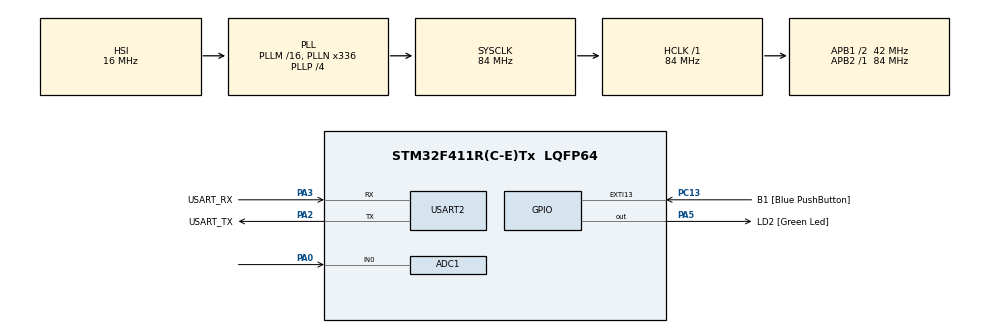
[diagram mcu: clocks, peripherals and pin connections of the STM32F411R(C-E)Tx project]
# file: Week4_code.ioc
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ADC1.Channel-1\#ChannelRegularConversion=ADC_CHANNEL_0
ADC1.Channel-2\#ChannelRegularConversion=ADC_CHANNEL_TEMPSENSOR
ADC1.ContinuousConvMode=ENABLE
ADC1.DMAContinuousRequests=ENABLE
ADC1.EOCSelection=ADC_EOC_SEQ_CONV
ADC1.NbrOfConversion=2
ADC1.NbrOfConversionFlag=1
ADC1.Rank-1\#ChannelRegularConversion=1
ADC1.Rank-2\#ChannelRegularConversion=2
ADC1.SamplingTime-1\#ChannelRegularConversion=ADC_SAMPLETIME_56CYCLES
ADC1.SamplingTime-2\#ChannelRegularConversion=ADC_SAMPLETIME_56CYCLES
ADC1.master=1
Dma.ADC1.0.Direction=DMA_PERIPH_TO_MEMORY
Dma.ADC1.0.FIFOMode=DMA_FIFOMODE_DISABLE
Dma.ADC1.0.Instance=DMA2_Stream0
Dma.ADC1.0.MemDataAlignment=DMA_MDATAALIGN_HALFWORD
Dma.ADC1.0.MemInc=DMA_MINC_ENABLE
Dma.ADC1.0.Mode=DMA_CIRCULAR
Dma.ADC1.0.PeriphDataAlignment=DMA_PDATAALIGN_HALFWORD
Dma.ADC1.0.PeriphInc=DMA_PINC_DISABLE
Dma.ADC1.0.Priority=DMA_PRIORITY_LOW
Dma.Request0=ADC1
Mcu.Family=STM32F4
Mcu.Name=STM32F411R(C-E)Tx
Mcu.Package=LQFP64
NVIC.DMA2_Stream0_IRQn=true\:0\:0\:false\:false\:true\:false\:true\:true
NVIC.EXTI15_10_IRQn=true\:0\:0\:false\:false\:true\:true\:true\:true
NVIC.PriorityGroup=NVIC_PRIORITYGROUP_0
PA0-WKUP.Signal=ADCx_IN0
PA13.GPIO_Label=TMS
PA13.Mode=Serial_Wire
PA13.Signal=SYS_JTMS-SWDIO
PA14.GPIO_Label=TCK
PA14.Mode=Serial_Wire
PA14.Signal=SYS_JTCK-SWCLK
PA2.GPIO_Label=USART_TX
PA2.Mode=Asynchronous
PA2.Signal=USART2_TX
PA3.GPIO_Label=USART_RX
PA3.Mode=Asynchronous
PA3.Signal=USART2_RX
PA5.GPIO_Label=LD2 [Green Led]
PA5.Signal=GPIO_Output
PB3.GPIO_Label=SWO
PB3.Signal=SYS_JTDO-SWO
PC13-ANTI_TAMP.GPIO_Label=B1 [Blue PushButton]
PC13-ANTI_TAMP.GPIO_ModeDefaultEXTI=GPIO_MODE_IT_FALLING
PC13-ANTI_TAMP.Signal=GPXTI13
PC14-OSC32_IN.Mode=LSE-External-Oscillator
PC14-OSC32_IN.Signal=RCC_OSC32_IN
PC15-OSC32_OUT.Mode=LSE-External-Oscillator
PC15-OSC32_OUT.Signal=RCC_OSC32_OUT
PH0\ -\ OSC_IN.Mode=HSE-External-Clock-Source
PH0\ -\ OSC_IN.Signal=RCC_OSC_IN
PH1\ -\ OSC_OUT.Mode=HSE-External-Clock-Source
PH1\ -\ OSC_OUT.Signal=RCC_OSC_OUT
ProjectManager.HeapSize=0x200
ProjectManager.StackSize=0x400
ProjectManager.TargetToolchain=STM32CubeIDE
RCC.48MHZClocksFreq_Value=84000000
RCC.AHBFreq_Value=84000000
RCC.APB1CLKDivider=RCC_HCLK_DIV2
RCC.APB1Freq_Value=42000000
RCC.APB1TimFreq_Value=84000000
RCC.APB2Freq_Value=84000000
RCC.APB2TimFreq_Value=84000000
RCC.CortexFreq_Value=84000000
RCC.FLatency-AdvancedSettings=FLASH_LATENCY_2
RCC.HCLKFreq_Value=84000000
RCC.HSE_VALUE=8000000
RCC.HSI_VALUE=16000000
RCC.PLLN=336
RCC.PLLP=RCC_PLLP_DIV4
RCC.SYSCLKFreq_VALUE=84000000
RCC.SYSCLKSource=RCC_SYSCLKSOURCE_PLLCLK
RCC.VCOOutputFreq_Value=336000000
SH.ADCx_IN0.0=ADC1_IN0,IN0
USART2.VirtualMode=VM_ASYNC
VP_ADC1_TempSens_Input.Mode=IN-TempSens
board=NUCLEO-F411RE

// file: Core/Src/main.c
/* USER CODE BEGIN Header */
/**
  ******************************************************************************
  * @file           : main.c
  * @brief          : Main program body
  ******************************************************************************
  * @attention
  *
  * Copyright (c) 2023 STMicroelectronics.
  * All rights reserved.
  *
  * This software is licensed under terms that can be found in the LICENSE file
  * in the root directory of this software component.
  * If no LICENSE file comes with this software, it is provided AS-IS.
  *
  ******************************************************************************
  */
/* USER CODE END Header */
#include "main.h"

ADC_HandleTypeDef hadc1;
DMA_HandleTypeDef hdma_adc1;

UART_HandleTypeDef huart2;

/* USER CODE BEGIN PV */
typedef struct {
	uint16_t in0;
	uint16_t temp;
} adcDMAStruct;

adcDMAStruct adcDMA[10];
float voltage_bit = 0;
float voltage_lsb = 3.3/4096;
float voltage_read = 0;
int voltage_in = 0;
int voltage_25 = 760;
float AVG_Slope = 2.5; //
float voltage_sense = 0;
float voltage_tempBit = 0;
float temp_C = 0;
float temp_K = 0;
/* USER CODE END PV */

void SystemClock_Config(void);
static void MX_GPIO_Init(void);
static void MX_DMA_Init(void);
static void MX_USART2_UART_Init(void);
static void MX_ADC1_Init(void);

int main(void)
{

  /* MCU Configuration--------------------------------------------------------*/

  /* Reset of all peripherals, Initializes the Flash interface and the Systick. */
  HAL_Init();

  /* Configure the system clock */
  SystemClock_Config();

  /* Initialize all configured peripherals */
  MX_GPIO_Init();
  MX_DMA_Init();
  MX_USART2_UART_Init();
  MX_ADC1_Init();
  /* USER CODE BEGIN 2 */
  HAL_ADC_Start_DMA(&hadc1, adcDMA, 20);
  /* USER CODE END 2 */

  /* Infinite loop */
  while (1)
  {

    /* USER CODE BEGIN 3 */
	  	  static uint32_t timestamp = 0;
	  	  // 1 time per 1 second || 1 time per second = 1/1 = 1 s = 1000 ms
	  	  if(HAL_GetTick() > timestamp){
	  		timestamp = HAL_GetTick() + 1000; // +1000 ms
	  		voltage_bit = (adcDMA[0].in0 + adcDMA[1].in0 + adcDMA[2].in0 + adcDMA[3].in0 + adcDMA[4].in0 + adcDMA[5].in0 + adcDMA[6].in0 + adcDMA[7].in0 + adcDMA[8].in0 + adcDMA[9].in0)/10;
	  		voltage_read = voltage_bit * voltage_lsb * 1000; //mv
	  		voltage_in = voltage_read*2;

	  		voltage_tempBit = (adcDMA[0].temp + adcDMA[1].temp + adcDMA[2].temp + adcDMA[3].temp + adcDMA[4].temp + adcDMA[5].temp + adcDMA[6].temp + adcDMA[7].temp + adcDMA[8].temp + adcDMA[9].temp)/10;
	  		voltage_sense = voltage_tempBit * voltage_lsb * 1000; //mv
	  		temp_C = ((voltage_sense - voltage_25)/AVG_Slope) + 25;
	  		temp_K = temp_C + 273;
	  	  }

  }

  /* USER CODE END 3 */
}

void SystemClock_Config(void)
{
  RCC_OscInitTypeDef RCC_OscInitStruct = {0};
  RCC_ClkInitTypeDef RCC_ClkInitStruct = {0};

  /** Configure the main internal regulator output voltage
  */
  __HAL_RCC_PWR_CLK_ENABLE();
  __HAL_PWR_VOLTAGESCALING_CONFIG(PWR_REGULATOR_VOLTAGE_SCALE1);

  /** Initializes the RCC Oscillators according to the specified parameters
  * in the RCC_OscInitTypeDef structure.
  */
  RCC_OscInitStruct.OscillatorType = RCC_OSCILLATORTYPE_HSI;
  RCC_OscInitStruct.HSIState = RCC_HSI_ON;
  RCC_OscInitStruct.HSICalibrationValue = RCC_HSICALIBRATION_DEFAULT;
  RCC_OscInitStruct.PLL.PLLState = RCC_PLL_ON;
  RCC_OscInitStruct.PLL.PLLSource = RCC_PLLSOURCE_HSI;
  RCC_OscInitStruct.PLL.PLLM = 16;
  RCC_OscInitStruct.PLL.PLLN = 336;
  RCC_OscInitStruct.PLL.PLLP = RCC_PLLP_DIV4;
  RCC_OscInitStruct.PLL.PLLQ = 4;
  if (HAL_RCC_OscConfig(&RCC_OscInitStruct) != HAL_OK)
  {
    Error_Handler();
  }

  /** Initializes the CPU, AHB and APB buses clocks
  */
  RCC_ClkInitStruct.ClockType = RCC_CLOCKTYPE_HCLK|RCC_CLOCKTYPE_SYSCLK
                              |RCC_CLOCKTYPE_PCLK1|RCC_CLOCKTYPE_PCLK2;
  RCC_ClkInitStruct.SYSCLKSource = RCC_SYSCLKSOURCE_PLLCLK;
  RCC_ClkInitStruct.AHBCLKDivider = RCC_SYSCLK_DIV1;
  RCC_ClkInitStruct.APB1CLKDivider = RCC_HCLK_DIV2;
  RCC_ClkInitStruct.APB2CLKDivider = RCC_HCLK_DIV1;

  if (HAL_RCC_ClockConfig(&RCC_ClkInitStruct, FLASH_LATENCY_2) != HAL_OK)
  {
    Error_Handler();
  }
}

static void MX_ADC1_Init(void)
{

  ADC_ChannelConfTypeDef sConfig = {0};

  /** Configure the global features of the ADC (Clock, Resolution, Data Alignment and number of conversion)
  */
  hadc1.Instance = ADC1;
  hadc1.Init.ClockPrescaler = ADC_CLOCK_SYNC_PCLK_DIV4;
  hadc1.Init.Resolution = ADC_RESOLUTION_12B;
  hadc1.Init.ScanConvMode = ENABLE;
  hadc1.Init.ContinuousConvMode = ENABLE;
  hadc1.Init.DiscontinuousConvMode = DISABLE;
  hadc1.Init.ExternalTrigConvEdge = ADC_EXTERNALTRIGCONVEDGE_NONE;
  hadc1.Init.ExternalTrigConv = ADC_SOFTWARE_START;
  hadc1.Init.DataAlign = ADC_DATAALIGN_RIGHT;
  hadc1.Init.NbrOfConversion = 2;
  hadc1.Init.DMAContinuousRequests = ENABLE;
  hadc1.Init.EOCSelection = ADC_EOC_SEQ_CONV;
  if (HAL_ADC_Init(&hadc1) != HAL_OK)
  {
    Error_Handler();
  }

  /** Configure for the selected ADC regular channel its corresponding rank in the sequencer and its sample time.
  */
  sConfig.Channel = ADC_CHANNEL_0;
  sConfig.Rank = 1;
  sConfig.SamplingTime = ADC_SAMPLETIME_56CYCLES;
  if (HAL_ADC_ConfigChannel(&hadc1, &sConfig) != HAL_OK)
  {
    Error_Handler();
  }

  /** Configure for the selected ADC regular channel its corresponding rank in the sequencer and its sample time.
  */
  sConfig.Channel = ADC_CHANNEL_TEMPSENSOR;
  sConfig.Rank = 2;
  if (HAL_ADC_ConfigChannel(&hadc1, &sConfig) != HAL_OK)
  {
    Error_Handler();
  }

}

static void MX_USART2_UART_Init(void)
{

  huart2.Instance = USART2;
  huart2.Init.BaudRate = 115200;
  huart2.Init.WordLength = UART_WORDLENGTH_8B;
  huart2.Init.StopBits = UART_STOPBITS_1;
  huart2.Init.Parity = UART_PARITY_NONE;
  huart2.Init.Mode = UART_MODE_TX_RX;
  huart2.Init.HwFlowCtl = UART_HWCONTROL_NONE;
  huart2.Init.OverSampling = UART_OVERSAMPLING_16;
  if (HAL_UART_Init(&huart2) != HAL_OK)
  {
    Error_Handler();
  }

}

static void MX_DMA_Init(void)
{

  /* DMA controller clock enable */
  __HAL_RCC_DMA2_CLK_ENABLE();

  /* DMA interrupt init */
  /* DMA2_Stream0_IRQn interrupt configuration */
  HAL_NVIC_SetPriority(DMA2_Stream0_IRQn, 0, 0);
  HAL_NVIC_EnableIRQ(DMA2_Stream0_IRQn);

}

static void MX_GPIO_Init(void)
{
  GPIO_InitTypeDef GPIO_InitStruct = {0};

  /* GPIO Ports Clock Enable */
  __HAL_RCC_GPIOC_CLK_ENABLE();
  __HAL_RCC_GPIOH_CLK_ENABLE();
  __HAL_RCC_GPIOA_CLK_ENABLE();
  __HAL_RCC_GPIOB_CLK_ENABLE();

  /*Configure GPIO pin Output Level */
  HAL_GPIO_WritePin(LD2_GPIO_Port, LD2_Pin, GPIO_PIN_RESET);

  /*Configure GPIO pin : B1_Pin */
  GPIO_InitStruct.Pin = B1_Pin;
  GPIO_InitStruct.Mode = GPIO_MODE_IT_FALLING;
  GPIO_InitStruct.Pull = GPIO_NOPULL;
  HAL_GPIO_Init(B1_GPIO_Port, &GPIO_InitStruct);

  /*Configure GPIO pin : LD2_Pin */
  GPIO_InitStruct.Pin = LD2_Pin;
  GPIO_InitStruct.Mode = GPIO_MODE_OUTPUT_PP;
  GPIO_InitStruct.Pull = GPIO_NOPULL;
  GPIO_InitStruct.Speed = GPIO_SPEED_FREQ_LOW;
  HAL_GPIO_Init(LD2_GPIO_Port, &GPIO_InitStruct);

  /* EXTI interrupt init*/
  HAL_NVIC_SetPriority(EXTI15_10_IRQn, 0, 0);
  HAL_NVIC_EnableIRQ(EXTI15_10_IRQn);

}

/* USER CODE BEGIN 4 */
void HAL_GPIO_EXTI_Callback(uint16_t GPIO_Pin) //GPIO_Pin have same value as a PIN that interrupt form.
{
	//if(GPIO_Pin == GPIO_PIN_13) HAL_ADC_Start_DMA(&hadc1, adcDMA, 20);
}
void HAL_ADC_ConvCpltCallback(ADC_HandleTypeDef* hadc){ //do when ADC read ADC-DMA finished
	//adcRawData = HAL_ADC_GetValue(&hadc1);
}
/* USER CODE END 4 */

void Error_Handler(void)
{
  __disable_irq();
  while (1)
  {
  }
}
